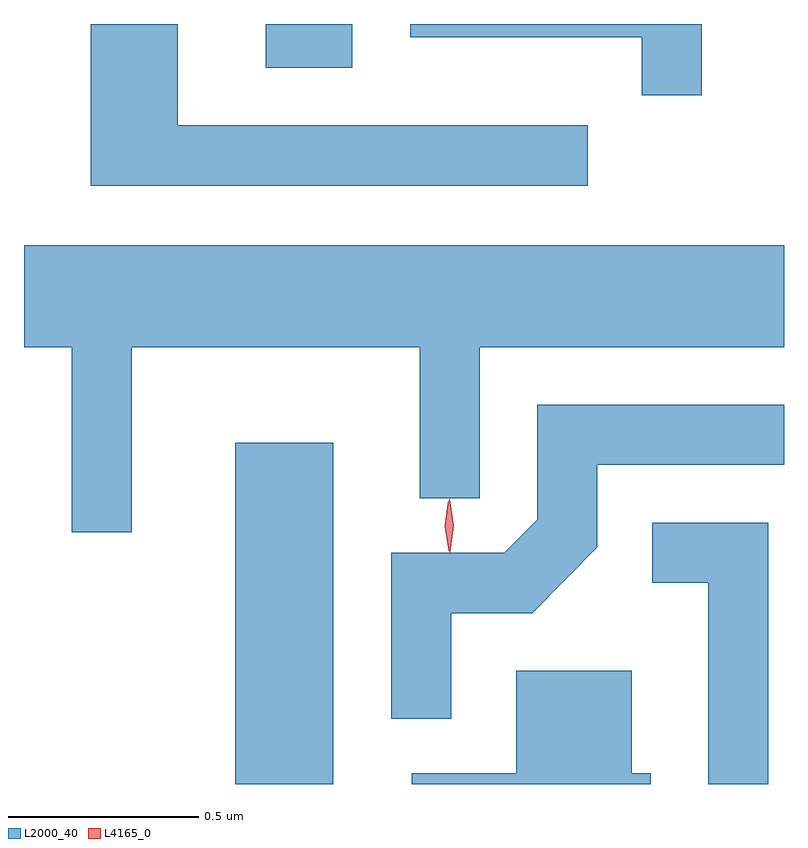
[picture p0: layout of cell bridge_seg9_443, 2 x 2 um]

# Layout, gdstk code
import gdstk
lib = gdstk.Library(unit=1e-6, precision=1e-09)
def R(c, l, rs):  # rectangles x0, y0, x1, y1
    for r in rs: c.add(gdstk.rectangle(r[:2], r[2:], *l))
def P(c, l, *ps):  # polygons
    for p in ps: c.add(gdstk.Polygon(p, *l))
L2000_40 = (2000, 40)
L4165_0 = (4165, 0)

bridge_seg9_443 = lib.new_cell('bridge_seg9_443')
R(bridge_seg9_443, L2000_40, [(439.826,2070.586,440.084,2071.484), (439.906,2072.471,440.134,2072.586)])
P(bridge_seg9_443, L2000_40, [(441.054,2072.586),(440.286,2072.586),(440.286,2072.551),(440.896,2072.551),(440.896,2072.398),(441.054,2072.398)],
  [(440.753,2072.319),(439.674,2072.319),(439.674,2072.586),(439.446,2072.586),(439.446,2072.161),(440.753,2072.161)],
  [(439.554,2071.736),(440.311,2071.736),(440.311,2071.338),(440.469,2071.338),(440.469,2071.736),(441.27,2071.736),(441.27,2072.004),(439.27,2072.004),(439.27,2071.736),(439.396,2071.736),(439.396,2071.248),(439.554,2071.248)],
  [(440.394,2071.036),(440.607,2071.036),(440.779,2071.209),(440.779,2071.426),(441.27,2071.426),(441.27,2071.584),(440.621,2071.584),(440.621,2071.282),(440.534,2071.194),(440.236,2071.194),(440.236,2070.758),(440.394,2070.758)],
  [(441.229,2071.274),(440.923,2071.274),(440.923,2071.116),(441.071,2071.116),(441.071,2070.586),(441.229,2070.586)],
  [(440.919,2070.614),(440.869,2070.614),(440.869,2070.884),(440.566,2070.884),(440.566,2070.614),(440.291,2070.614),(440.291,2070.586),(440.919,2070.586)])
P(bridge_seg9_443, L4165_0, [(440.388,2071.199),(440.388,2071.2),(440.377,2071.265),(440.386,2071.332),(440.386,2071.332),(440.387,2071.332),(440.397,2071.266),(440.389,2071.2)],
  [(440.392,2071.196),(440.391,2071.197),(440.381,2071.266),(440.389,2071.335),(440.39,2071.336),(440.39,2071.335),(440.401,2071.266),(440.392,2071.197)])

lib.write_gds('bridge_seg9_443.gds')
